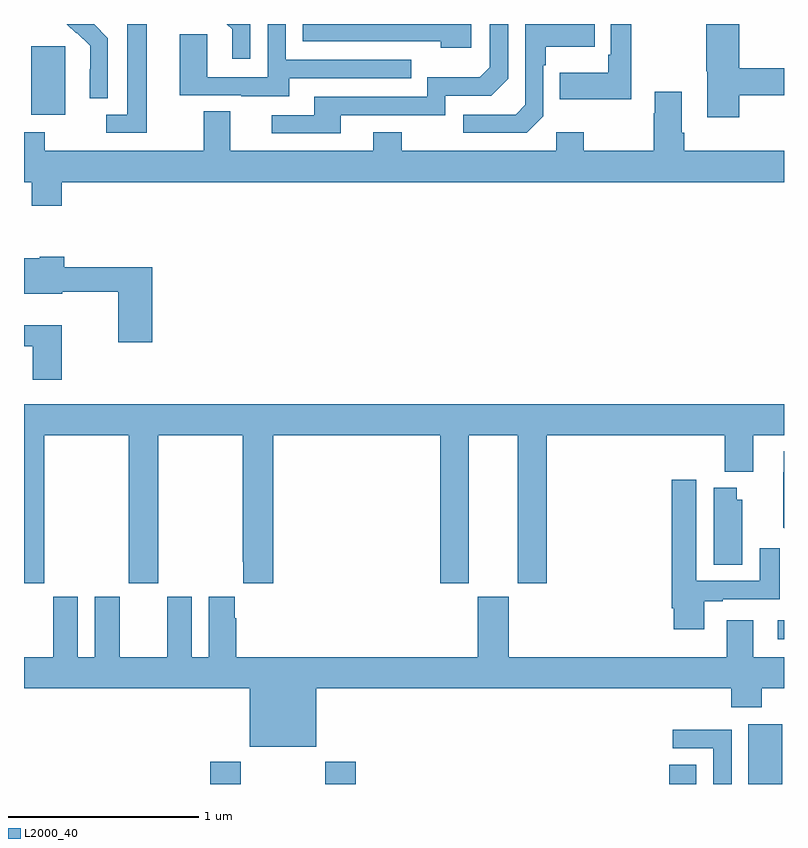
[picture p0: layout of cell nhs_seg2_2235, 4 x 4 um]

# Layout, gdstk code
import gdstk
lib = gdstk.Library(unit=1e-6, precision=1e-09)
def R(c, l, rs):  # rectangles x0, y0, x1, y1
    for r in rs: c.add(gdstk.rectangle(r[:2], r[2:], *l))
def P(c, l, *ps):  # polygons
    for p in ps: c.add(gdstk.Polygon(p, *l))
L2000_40 = (2000, 40)

nhs_seg2_2235 = lib.new_cell('nhs_seg2_2235')
R(nhs_seg2_2235, L2000_40, [(227.981,645.8,228.141,645.916), (228.586,645.8,228.746,645.916), (230.396,645.8,230.539,645.902), (230.813,645.8,230.992,646.114), (230.967,646.562,231,646.663), (227.039,649.322,227.218,649.683)])
P(nhs_seg2_2235, L2000_40, [(227.647,649.8),(227.543,649.8),(227.543,649.323),(227.433,649.323),(227.433,649.227),(227.647,649.227)],
  [(227.442,649.726),(227.369,649.799),(227.37,649.8),(227.226,649.8),(227.274,649.752),(227.277,649.755),(227.348,649.685),(227.348,649.562),(227.346,649.562),(227.346,649.408),(227.442,649.408)],
  [(229.354,649.8),(228.468,649.8),(228.468,649.71),(229.193,649.71),(229.193,649.676),(229.354,649.676)],
  [(229.734,649.314),(229.734,649.583),(229.747,649.583),(229.747,649.679),(230.003,649.679),(230.003,649.8),(229.638,649.8),(229.638,649.374),(229.587,649.323),(229.311,649.323),(229.311,649.227),(229.647,649.227)],
  [(228.667,649.32),(229.218,649.32),(229.218,649.422),(229.458,649.422),(229.548,649.512),(229.548,649.8),(229.452,649.8),(229.452,649.572),(229.399,649.519),(229.122,649.519),(229.122,649.416),(228.527,649.416),(228.527,649.32),(228.303,649.32),(228.303,649.224),(228.667,649.224)],
  [(230.197,649.8),(230.088,649.8),(230.088,649.639),(230.076,649.639),(230.076,649.543),(229.819,649.543),(229.819,649.403),(230.197,649.403)],
  [(228.397,649.515),(229.037,649.515),(229.037,649.611),(228.378,649.611),(228.378,649.8),(228.282,649.8),(228.282,649.521),(227.964,649.521),(227.964,649.745),(227.819,649.745),(227.819,649.425),(228.143,649.425),(228.143,649.421),(228.397,649.421)],
  [(228.192,649.8),(228.068,649.8),(228.095,649.773),(228.095,649.617),(228.192,649.617)],
  [(230.765,649.426),(231,649.426),(231,649.568),(230.765,649.568),(230.765,649.8),(230.59,649.8),(230.59,649.551),(230.597,649.551),(230.597,649.308),(230.765,649.308)],
  [(227.198,648.968),(231,648.968),(231,649.132),(230.474,649.132),(230.474,649.228),(230.461,649.228),(230.461,649.444),(230.321,649.444),(230.321,649.331),(230.314,649.331),(230.314,649.132),(229.947,649.132),(229.947,649.231),(229.8,649.231),(229.8,649.132),(228.987,649.132),(228.987,649.231),(228.839,649.231),(228.839,649.132),(228.085,649.132),(228.085,649.34),(227.945,649.34),(227.945,649.132),(227.109,649.132),(227.109,649.231),(227,649.231),(227,648.968),(227.041,648.968),(227.041,648.844),(227.198,648.844)],
  [(227.675,648.52),(227.213,648.52),(227.213,648.574),(227.082,648.574),(227.082,648.568),(227,648.568),(227,648.38),(227.2,648.38),(227.2,648.391),(227.497,648.391),(227.497,648.126),(227.675,648.126)],
  [(227.198,648.214),(227,648.214),(227,648.105),(227.045,648.105),(227.045,647.928),(227.198,647.928)],
  [(227.106,647.636),(227.551,647.636),(227.551,646.857),(227.706,646.857),(227.706,647.636),(228.151,647.636),(228.151,646.969),(228.155,646.969),(228.155,646.857),(228.311,646.857),(228.311,647.636),(229.19,647.636),(229.19,646.857),(229.342,646.857),(229.342,647.636),(229.598,647.636),(229.598,646.857),(229.751,646.857),(229.751,647.636),(230.687,647.636),(230.687,647.444),(230.839,647.444),(230.839,647.636),(231,647.636),(231,647.8),(227,647.8),(227,646.857),(227.106,646.857)],
  [(231,647.551),(230.999,647.551),(230.999,647.441),(230.995,647.441),(230.995,647.15),(231,647.145)],
  [(230.581,646.761),(230.677,646.761),(230.677,646.773),(230.977,646.773),(230.977,647.041),(230.873,647.041),(230.873,646.869),(230.539,646.869),(230.539,647.401),(230.408,647.401),(230.408,646.726),(230.42,646.726),(230.42,646.614),(230.581,646.614)],
  [(230.779,647.295),(230.752,647.295),(230.752,647.359),(230.63,647.359),(230.63,646.954),(230.779,646.954)],
  [(228.538,646.304),(230.723,646.304),(230.723,646.205),(230.883,646.205),(230.883,646.304),(231,646.304),(231,646.468),(230.839,646.468),(230.839,646.663),(230.699,646.663),(230.699,646.468),(229.552,646.468),(229.552,646.785),(229.388,646.785),(229.388,646.468),(228.116,646.468),(228.116,646.673),(228.109,646.673),(228.109,646.786),(227.972,646.786),(227.972,646.468),(227.884,646.468),(227.884,646.786),(227.753,646.786),(227.753,646.468),(227.503,646.468),(227.503,646.786),(227.372,646.786),(227.372,646.468),(227.284,646.468),(227.284,646.786),(227.153,646.786),(227.153,646.468),(227,646.468),(227,646.304),(228.188,646.304),(228.188,645.995),(228.538,645.995)],
  [(230.724,646.086),(230.415,646.086),(230.415,645.987),(230.628,645.987),(230.628,645.8),(230.724,645.8)])

lib.write_gds('nhs_seg2_2235.gds')
